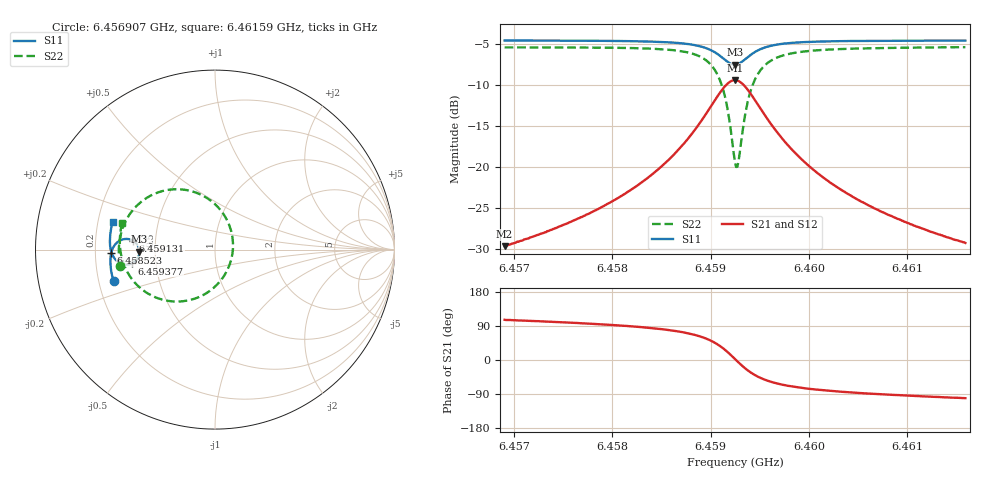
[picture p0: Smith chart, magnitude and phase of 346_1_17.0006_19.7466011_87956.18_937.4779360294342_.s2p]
#  HZ  S  RI  R  50.00
! Rohde & Schwarz Vector Network Analyzer
! Rohde-Schwarz,ZNB20-2Port,1311601062101988,3.16
! Created: UTC 3/20/2024, 11:07:37 PM
! freq[Hz]  re:S11  im:S11  re:S21  im:S21  re:S12  im:S12  re:S22  im:S22
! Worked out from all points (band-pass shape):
!   401 points, 6.456907 GHz to 6.46159 GHz, reference 50 ohm
!   highest |S21| = -9.40 dB at 6.459249 GHz (marker M1); lowest = -29.7 dB at 6.456907 GHz (marker M2)
!   |S21| within 3 dB of the highest: 6.459015 GHz to 6.459482 GHz (467.4 kHz wide, 0.00724 % of centre)
!   lowest |S11| = -7.5 dB at 6.459249 GHz (marker M3), VSWR 2.46, Z = 20.4 - j0.605 ohm
!   |S11| at or under -10 dB: nowhere
!   |S22| runs from -20.0 to -5.4 dB; largest |S21 - S12| = 0.013
!   S11 on the Smith chart (normalised r, x): 6.456907 GHz: 0.26, -0.14; 6.458523 GHz: 0.27, -0.02; 6.459131 GHz: 0.37, +0.05; 6.459377 GHz: 0.36, -0.07; 6.46159 GHz: 0.26, +0.12
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6.4569066e9  -0.5648 -0.1776  -0.00917 0.0316  -0.00731 0.0317  -0.5295 -0.0902
6.4576912e9  -0.5798 -0.1097  -0.00591 0.0492  -0.00354 0.0487  -0.5362 -0.000174
6.4581244e9  -0.5832 -0.0666  -0.000251 0.0683  0.00301 0.067  -0.5288 0.0671
6.4584757e9  -0.5798 -0.0251  0.0132 0.0968  0.0171 0.0942  -0.5046 0.1444
6.4585225e9  -0.5784 -0.0187  0.0164 0.1023  0.0204 0.0992  -0.4983 0.1574
6.4587333e9  -0.5665 0.0131  0.0421 0.1334  0.0461 0.1287  -0.4508 0.2285
6.4588855e9  -0.5457 0.0393  0.0838 0.1634  0.0871 0.157  -0.3738 0.2923
6.4590378e9  -0.5004 0.0592  0.174 0.1823  0.1751 0.1752  -0.2089 0.3364
6.4591314e9  -0.4564 0.0494  0.2626 0.1522  0.263 0.1462  -0.0453 0.2879
6.4591783e9  -0.4356 0.031  0.3057 0.1102  0.3068 0.1047  0.0363 0.2132
6.4592485e9  -0.421 -0.0122  0.3386 0.0149  0.3419 0.00802  0.1001 0.0371
6.4592602e9  -0.4213 -0.0201  0.3383 -0.00252  0.342 -0.00998  0.1 0.00413
6.4592837e9  -0.4249 -0.0354  0.333 -0.0366  0.3365 -0.0455  0.0891 -0.0602
6.4593305e9  -0.4402 -0.061  0.3049 -0.0954  0.307 -0.1069  0.0331 -0.1709
6.4593773e9  -0.4619 -0.0768  0.2638 -0.1358  0.2628 -0.1484  -0.0501 -0.2443
6.459471e9  -0.5045 -0.0832  0.1807 -0.1662  0.1748 -0.1774  -0.215 -0.2894
6.4596232e9  -0.5475 -0.0627  0.0947 -0.1529  0.0865 -0.159  -0.3788 -0.2413
6.4597872e9  -0.5686 -0.0352  0.0506 -0.1259  0.0432 -0.1285  -0.4578 -0.1709
6.4600331e9  -0.5811 0.000467  0.0221 -0.0951  0.0165 -0.0957  -0.5051 -0.0901
6.4603726e9  -0.5856 0.0404  0.00656 -0.0695  0.00265 -0.0691  -0.5259 -0.014
6.4608176e9  -0.5835 0.0848  -0.00131 -0.0508  -0.00414 -0.0499  -0.5304 0.0561
6.4615904e9  -0.571 0.1529  -0.00639 -0.0338  -0.00807 -0.0329  -0.5188 0.1458
